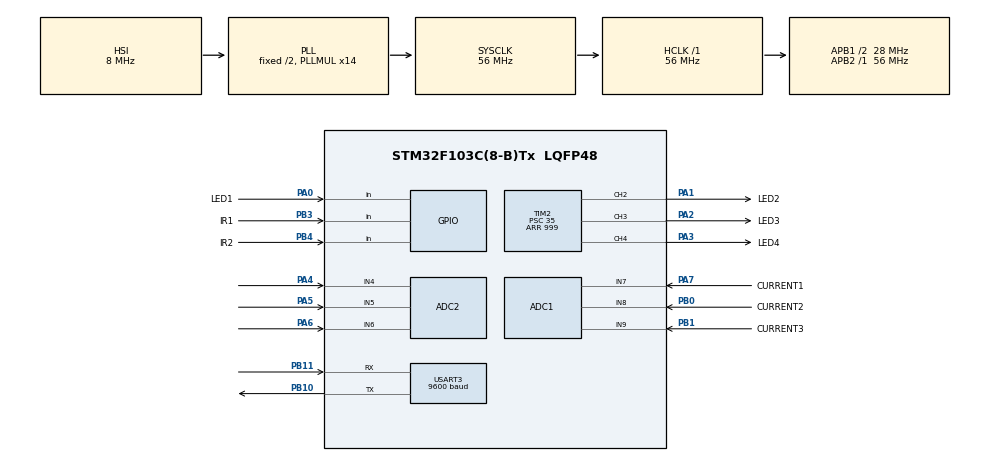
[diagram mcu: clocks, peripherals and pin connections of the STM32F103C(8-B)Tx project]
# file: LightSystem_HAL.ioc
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ADC1.Channel-3\#ChannelRegularConversion=ADC_CHANNEL_7
ADC1.Channel-4\#ChannelRegularConversion=ADC_CHANNEL_8
ADC1.Channel-5\#ChannelRegularConversion=ADC_CHANNEL_9
ADC1.ContinuousConvMode=ENABLE
ADC1.EnableRegularConversion=ENABLE
ADC1.NbrOfConversion=3
ADC1.NbrOfConversionFlag=1
ADC1.Rank-3\#ChannelRegularConversion=1
ADC1.Rank-4\#ChannelRegularConversion=2
ADC1.Rank-5\#ChannelRegularConversion=3
ADC1.SamplingTime-3\#ChannelRegularConversion=ADC_SAMPLETIME_239CYCLES_5
ADC1.SamplingTime-4\#ChannelRegularConversion=ADC_SAMPLETIME_239CYCLES_5
ADC1.SamplingTime-5\#ChannelRegularConversion=ADC_SAMPLETIME_239CYCLES_5
ADC1.master=1
ADC2.Channel-4\#ChannelRegularConversion=ADC_CHANNEL_5
ADC2.ContinuousConvMode=ENABLE
ADC2.NbrOfConversion=1
ADC2.NbrOfConversionFlag=1
ADC2.Rank-4\#ChannelRegularConversion=1
ADC2.SamplingTime-4\#ChannelRegularConversion=ADC_SAMPLETIME_28CYCLES_5
Dma.ADC1.0.Direction=DMA_PERIPH_TO_MEMORY
Dma.ADC1.0.Instance=DMA1_Channel1
Dma.ADC1.0.MemDataAlignment=DMA_MDATAALIGN_HALFWORD
Dma.ADC1.0.MemInc=DMA_MINC_ENABLE
Dma.ADC1.0.Mode=DMA_CIRCULAR
Dma.ADC1.0.PeriphDataAlignment=DMA_PDATAALIGN_HALFWORD
Dma.ADC1.0.PeriphInc=DMA_PINC_DISABLE
Dma.ADC1.0.Priority=DMA_PRIORITY_LOW
Dma.Request0=ADC1
Mcu.Family=STM32F1
Mcu.Name=STM32F103C(8-B)Tx
Mcu.Package=LQFP48
NVIC.DMA1_Channel1_IRQn=true\:0\:0\:false\:false\:true\:false\:true\:true
NVIC.PriorityGroup=NVIC_PRIORITYGROUP_4
NVIC.USART3_IRQn=true\:0\:0\:false\:false\:true\:true\:true\:true
PA0-WKUP.GPIO_Label=LED1
PA0-WKUP.Signal=GPIO_Input
PA1.GPIO_Label=LED2
PA1.Signal=S_TIM2_CH2
PA13.Mode=Serial_Wire
PA13.Signal=SYS_JTMS-SWDIO
PA14.Mode=Serial_Wire
PA14.Signal=SYS_JTCK-SWCLK
PA2.GPIO_Label=LED3
PA2.Signal=S_TIM2_CH3
PA3.GPIO_Label=LED4
PA3.Signal=S_TIM2_CH4
PA4.Signal=ADCx_IN4
PA5.Signal=ADCx_IN5
PA6.Signal=ADCx_IN6
PA7.GPIO_Label=CURRENT1
PA7.Signal=ADCx_IN7
PB0.GPIO_Label=CURRENT2
PB0.Signal=ADCx_IN8
PB1.GPIO_Label=CURRENT3
PB1.Signal=ADCx_IN9
PB10.Mode=Asynchronous
PB10.Signal=USART3_TX
PB11.Mode=Asynchronous
PB11.Signal=USART3_RX
PB3.GPIO_Label=IR1
PB3.Signal=GPIO_Input
PB4.GPIO_Label=IR2
PB4.Signal=GPIO_Input
PD0-OSC_IN.Mode=HSE-External-Oscillator
PD0-OSC_IN.Signal=RCC_OSC_IN
PD1-OSC_OUT.Mode=HSE-External-Oscillator
PD1-OSC_OUT.Signal=RCC_OSC_OUT
ProjectManager.HeapSize=0x200
ProjectManager.StackSize=0x400
ProjectManager.TargetToolchain=MDK-ARM V5.32
RCC.ADCPresc=RCC_ADCPCLK2_DIV4
RCC.AHBFreq_Value=56000000
RCC.APB1CLKDivider=RCC_HCLK_DIV2
RCC.APB1Freq_Value=28000000
RCC.APB1TimFreq_Value=56000000
RCC.APB2Freq_Value=56000000
RCC.APB2TimFreq_Value=56000000
RCC.HCLKFreq_Value=56000000
RCC.PLLMUL=RCC_PLL_MUL14
RCC.SYSCLKFreq_VALUE=56000000
RCC.SYSCLKSource=RCC_SYSCLKSOURCE_PLLCLK
RCC.USBFreq_Value=56000000
SH.ADCx_IN4.0=ADC2_IN4,IN4
SH.ADCx_IN5.0=ADC2_IN5,IN5
SH.ADCx_IN6.0=ADC2_IN6,IN6
SH.ADCx_IN7.0=ADC1_IN7,IN7
SH.ADCx_IN8.0=ADC1_IN8,IN8
SH.ADCx_IN9.0=ADC1_IN9,IN9
SH.S_TIM2_CH2.0=TIM2_CH2,PWM Generation2 CH2
SH.S_TIM2_CH3.0=TIM2_CH3,PWM Generation3 CH3
SH.S_TIM2_CH4.0=TIM2_CH4,PWM Generation4 CH4
TIM2.Channel-PWM\ Generation2\ CH2=TIM_CHANNEL_2
TIM2.Channel-PWM\ Generation3\ CH3=TIM_CHANNEL_3
TIM2.Channel-PWM\ Generation4\ CH4=TIM_CHANNEL_4
TIM2.Period=999
TIM2.Prescaler=35
USART3.BaudRate=9600
USART3.VirtualMode=VM_ASYNC
VP_TIM2_VS_ClockSourceINT.Mode=Internal
board=custom

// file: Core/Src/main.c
/* USER CODE BEGIN Header */
/**
  ******************************************************************************
  * @file           : main.c
  * @brief          : Main program body
  ******************************************************************************
  * @attention
  *
  * Copyright (c) 2023 STMicroelectronics.
  * All rights reserved.
  *
  * This software is licensed under terms that can be found in the LICENSE file
  * in the root directory of this software component.
  * If no LICENSE file comes with this software, it is provided AS-IS.
  *
  ******************************************************************************
  */
/* USER CODE END Header */
#include "main.h"

/* USER CODE BEGIN Includes */
#include <stdio.h>
#include <stdlib.h>
#include "current_sensor.h"
#include "LED.h"
#include "IR_sensor.h"
#include "LDR.h"
#include "math.h"
/* USER CODE END Includes */

ADC_HandleTypeDef hadc1;
ADC_HandleTypeDef hadc2;
DMA_HandleTypeDef hdma_adc1;

TIM_HandleTypeDef htim2;

UART_HandleTypeDef huart3;

void SystemClock_Config(void);
static void MX_GPIO_Init(void);
static void MX_DMA_Init(void);
static void MX_ADC1_Init(void);
static void MX_TIM2_Init(void);
static void MX_ADC2_Init(void);
static void MX_USART3_UART_Init(void);

/* USER CODE BEGIN 0 */
uint16_t voltage_read[3];
float rawVoltage[3];
float Voltage[3];
float pre_Voltage[3];
int LDR_length = 3;
uint16_t nightTime;
int task=0;
uint32_t keep;
float noise_1 = 2.1177;
float noise_2 = 2.1562;
float noise_3 = 1.96;
uint32_t *timekeep = &keep;
float sensitivity = 0.185;
float current[3];
char buffer[6];
char ctrlLed[3];
unsigned long lastMsg = 0;
char led[1] ="1";
//void HAL_UART_RxCpltCallback(UART_HandleTypeDef *huart)
//{
// if(huart->Instance == huart3.Instance)
// {
//   if(ctrlLed[0] == '1')
//	 {
//		 turnOnLed(&htim2);
//	 }
//	 else if(ctrlLed[0] == '0')
//	 {
//		 turnOffLed(&htim2);
//	 }
// }
//}
/* USER CODE END 0 */

int main(void)
{

  /* MCU Configuration--------------------------------------------------------*/

  /* Reset of all peripherals, Initializes the Flash interface and the Systick. */
  HAL_Init();

  /* USER CODE BEGIN Init */

  /* USER CODE END  Init */

  /* Configure the system clock */
  SystemClock_Config();

  /* Initialize all configured peripherals */
  MX_GPIO_Init();
  MX_DMA_Init();
  MX_ADC1_Init();
  MX_TIM2_Init();
  MX_ADC2_Init();
  MX_USART3_UART_Init();
  /* USER CODE BEGIN 2 */

  HAL_TIM_PWM_Start(&htim2,TIM_CHANNEL_2);
  HAL_TIM_PWM_Start(&htim2,TIM_CHANNEL_3);
  HAL_TIM_PWM_Start(&htim2,TIM_CHANNEL_4);
  HAL_UART_Receive_IT(&huart3, ctrlLed, 3);
  /* USER CODE END 2 */

  /* Infinite loop */
  /* USER CODE BEGIN WHILE */
  while (1)
  {
     for (int i = 0; i < 3; i++) {
        pre_Voltage[i] = 0;
    }
    HAL_ADC_Start(&hadc2);
    nightTime = HAL_ADC_GetValue(&hadc2);

    if(checkDay(nightTime))
    {
				if(detectObject()>0)
				{
					task = detectObject();
					keep = HAL_GetTick();
				}
				train(3000, &keep,&htim2, task);
				for(int i = 0;i< 1000;i++)
				{
					HAL_ADC_Start_DMA(&hadc1, (uint32_t*)voltage_read, 3);
					ConvertVoltage(voltage_read, Voltage);
					for(int i =0; i<3; i++)
					{
						pre_Voltage[i] += Voltage [i];
					}
				}
        rawVoltage[0] = pre_Voltage[0]/1000*2.1;
        rawVoltage[1] = pre_Voltage[1]/1000*2.08;
        rawVoltage[2] = pre_Voltage[2]/1000*1.95;

				current[0] = fabs((rawVoltage[0] -2.5) / sensitivity);
				current[1] = fabs((rawVoltage[1] -2.5) / sensitivity);
				current[2] = fabs((rawVoltage[2] -2.5) / sensitivity);
//				unsigned long now = HAL_GetTick();
////				if(now - lastMsg > 2000)
////				{
//						lastMsg = now;
						for(int i = 0; i < 3; i++)
						{
							sprintf(buffer, "%.3f:", current[i]);
							HAL_UART_Transmit(&huart3,buffer,sizeof(buffer),1000);
						}
				HAL_UART_Transmit(&huart3,led,1,1000);
//				}
    }
    else turnOffLed(&htim2);
		HAL_Delay(1000);
    /* USER CODE END WHILE */

  }
}

void SystemClock_Config(void)
{
  RCC_OscInitTypeDef RCC_OscInitStruct = {0};
  RCC_ClkInitTypeDef RCC_ClkInitStruct = {0};
  RCC_PeriphCLKInitTypeDef PeriphClkInit = {0};

  /** Initializes the RCC Oscillators according to the specified parameters
  * in the RCC_OscInitTypeDef structure.
  */
  RCC_OscInitStruct.OscillatorType = RCC_OSCILLATORTYPE_HSI;
  RCC_OscInitStruct.HSIState = RCC_HSI_ON;
  RCC_OscInitStruct.HSICalibrationValue = RCC_HSICALIBRATION_DEFAULT;
  RCC_OscInitStruct.PLL.PLLState = RCC_PLL_ON;
  RCC_OscInitStruct.PLL.PLLSource = RCC_PLLSOURCE_HSI_DIV2;
  RCC_OscInitStruct.PLL.PLLMUL = RCC_PLL_MUL14;
  if (HAL_RCC_OscConfig(&RCC_OscInitStruct) != HAL_OK)
  {
    Error_Handler();
  }

  /** Initializes the CPU, AHB and APB buses clocks
  */
  RCC_ClkInitStruct.ClockType = RCC_CLOCKTYPE_HCLK|RCC_CLOCKTYPE_SYSCLK
                              |RCC_CLOCKTYPE_PCLK1|RCC_CLOCKTYPE_PCLK2;
  RCC_ClkInitStruct.SYSCLKSource = RCC_SYSCLKSOURCE_PLLCLK;
  RCC_ClkInitStruct.AHBCLKDivider = RCC_SYSCLK_DIV1;
  RCC_ClkInitStruct.APB1CLKDivider = RCC_HCLK_DIV2;
  RCC_ClkInitStruct.APB2CLKDivider = RCC_HCLK_DIV1;

  if (HAL_RCC_ClockConfig(&RCC_ClkInitStruct, FLASH_LATENCY_2) != HAL_OK)
  {
    Error_Handler();
  }
  PeriphClkInit.PeriphClockSelection = RCC_PERIPHCLK_ADC;
  PeriphClkInit.AdcClockSelection = RCC_ADCPCLK2_DIV4;
  if (HAL_RCCEx_PeriphCLKConfig(&PeriphClkInit) != HAL_OK)
  {
    Error_Handler();
  }
}

static void MX_ADC1_Init(void)
{

  ADC_ChannelConfTypeDef sConfig = {0};

  /** Common config
  */
  hadc1.Instance = ADC1;
  hadc1.Init.ScanConvMode = ADC_SCAN_ENABLE;
  hadc1.Init.ContinuousConvMode = ENABLE;
  hadc1.Init.DiscontinuousConvMode = DISABLE;
  hadc1.Init.ExternalTrigConv = ADC_SOFTWARE_START;
  hadc1.Init.DataAlign = ADC_DATAALIGN_RIGHT;
  hadc1.Init.NbrOfConversion = 3;
  if (HAL_ADC_Init(&hadc1) != HAL_OK)
  {
    Error_Handler();
  }

  /** Configure Regular Channel
  */
  sConfig.Channel = ADC_CHANNEL_7;
  sConfig.Rank = ADC_REGULAR_RANK_1;
  sConfig.SamplingTime = ADC_SAMPLETIME_239CYCLES_5;
  if (HAL_ADC_ConfigChannel(&hadc1, &sConfig) != HAL_OK)
  {
    Error_Handler();
  }

  /** Configure Regular Channel
  */
  sConfig.Channel = ADC_CHANNEL_8;
  sConfig.Rank = ADC_REGULAR_RANK_2;
  if (HAL_ADC_ConfigChannel(&hadc1, &sConfig) != HAL_OK)
  {
    Error_Handler();
  }

  /** Configure Regular Channel
  */
  sConfig.Channel = ADC_CHANNEL_9;
  sConfig.Rank = ADC_REGULAR_RANK_3;
  if (HAL_ADC_ConfigChannel(&hadc1, &sConfig) != HAL_OK)
  {
    Error_Handler();
  }

}

static void MX_ADC2_Init(void)
{

  ADC_ChannelConfTypeDef sConfig = {0};

  /** Common config
  */
  hadc2.Instance = ADC2;
  hadc2.Init.ScanConvMode = ADC_SCAN_DISABLE;
  hadc2.Init.ContinuousConvMode = ENABLE;
  hadc2.Init.DiscontinuousConvMode = DISABLE;
  hadc2.Init.ExternalTrigConv = ADC_SOFTWARE_START;
  hadc2.Init.DataAlign = ADC_DATAALIGN_RIGHT;
  hadc2.Init.NbrOfConversion = 1;
  if (HAL_ADC_Init(&hadc2) != HAL_OK)
  {
    Error_Handler();
  }

  /** Configure Regular Channel
  */
  sConfig.Channel = ADC_CHANNEL_5;
  sConfig.Rank = ADC_REGULAR_RANK_1;
  sConfig.SamplingTime = ADC_SAMPLETIME_28CYCLES_5;
  if (HAL_ADC_ConfigChannel(&hadc2, &sConfig) != HAL_OK)
  {
    Error_Handler();
  }

}

static void MX_TIM2_Init(void)
{

  TIM_ClockConfigTypeDef sClockSourceConfig = {0};
  TIM_MasterConfigTypeDef sMasterConfig = {0};
  TIM_OC_InitTypeDef sConfigOC = {0};

  htim2.Instance = TIM2;
  htim2.Init.Prescaler = 35;
  htim2.Init.CounterMode = TIM_COUNTERMODE_UP;
  htim2.Init.Period = 999;
  htim2.Init.ClockDivision = TIM_CLOCKDIVISION_DIV1;
  htim2.Init.AutoReloadPreload = TIM_AUTORELOAD_PRELOAD_DISABLE;
  if (HAL_TIM_Base_Init(&htim2) != HAL_OK)
  {
    Error_Handler();
  }
  sClockSourceConfig.ClockSource = TIM_CLOCKSOURCE_INTERNAL;
  if (HAL_TIM_ConfigClockSource(&htim2, &sClockSourceConfig) != HAL_OK)
  {
    Error_Handler();
  }
  if (HAL_TIM_PWM_Init(&htim2) != HAL_OK)
  {
    Error_Handler();
  }
  sMasterConfig.MasterOutputTrigger = TIM_TRGO_RESET;
  sMasterConfig.MasterSlaveMode = TIM_MASTERSLAVEMODE_DISABLE;
  if (HAL_TIMEx_MasterConfigSynchronization(&htim2, &sMasterConfig) != HAL_OK)
  {
    Error_Handler();
  }
  sConfigOC.OCMode = TIM_OCMODE_PWM1;
  sConfigOC.Pulse = 0;
  sConfigOC.OCPolarity = TIM_OCPOLARITY_HIGH;
  sConfigOC.OCFastMode = TIM_OCFAST_DISABLE;
  if (HAL_TIM_PWM_ConfigChannel(&htim2, &sConfigOC, TIM_CHANNEL_2) != HAL_OK)
  {
    Error_Handler();
  }
  if (HAL_TIM_PWM_ConfigChannel(&htim2, &sConfigOC, TIM_CHANNEL_3) != HAL_OK)
  {
    Error_Handler();
  }
  if (HAL_TIM_PWM_ConfigChannel(&htim2, &sConfigOC, TIM_CHANNEL_4) != HAL_OK)
  {
    Error_Handler();
  }
  HAL_TIM_MspPostInit(&htim2);

}

static void MX_USART3_UART_Init(void)
{

  huart3.Instance = USART3;
  huart3.Init.BaudRate = 9600;
  huart3.Init.WordLength = UART_WORDLENGTH_8B;
  huart3.Init.StopBits = UART_STOPBITS_1;
  huart3.Init.Parity = UART_PARITY_NONE;
  huart3.Init.Mode = UART_MODE_TX_RX;
  huart3.Init.HwFlowCtl = UART_HWCONTROL_NONE;
  huart3.Init.OverSampling = UART_OVERSAMPLING_16;
  if (HAL_UART_Init(&huart3) != HAL_OK)
  {
    Error_Handler();
  }

}

static void MX_DMA_Init(void)
{

  /* DMA controller clock enable */
  __HAL_RCC_DMA1_CLK_ENABLE();

  /* DMA interrupt init */
  /* DMA1_Channel1_IRQn interrupt configuration */
  HAL_NVIC_SetPriority(DMA1_Channel1_IRQn, 0, 0);
  HAL_NVIC_EnableIRQ(DMA1_Channel1_IRQn);

}

static void MX_GPIO_Init(void)
{
  GPIO_InitTypeDef GPIO_InitStruct = {0};

  /* GPIO Ports Clock Enable */
  __HAL_RCC_GPIOD_CLK_ENABLE();
  __HAL_RCC_GPIOA_CLK_ENABLE();
  __HAL_RCC_GPIOB_CLK_ENABLE();

  /*Configure GPIO pin : LED1_Pin */
  GPIO_InitStruct.Pin = LED1_Pin;
  GPIO_InitStruct.Mode = GPIO_MODE_INPUT;
  GPIO_InitStruct.Pull = GPIO_NOPULL;
  HAL_GPIO_Init(LED1_GPIO_Port, &GPIO_InitStruct);

  /*Configure GPIO pins : IR1_Pin IR2_Pin */
  GPIO_InitStruct.Pin = IR1_Pin|IR2_Pin;
  GPIO_InitStruct.Mode = GPIO_MODE_INPUT;
  GPIO_InitStruct.Pull = GPIO_NOPULL;
  HAL_GPIO_Init(GPIOB, &GPIO_InitStruct);

}

void Error_Handler(void)
{
  __disable_irq();
  while (1)
  {
  }
}
